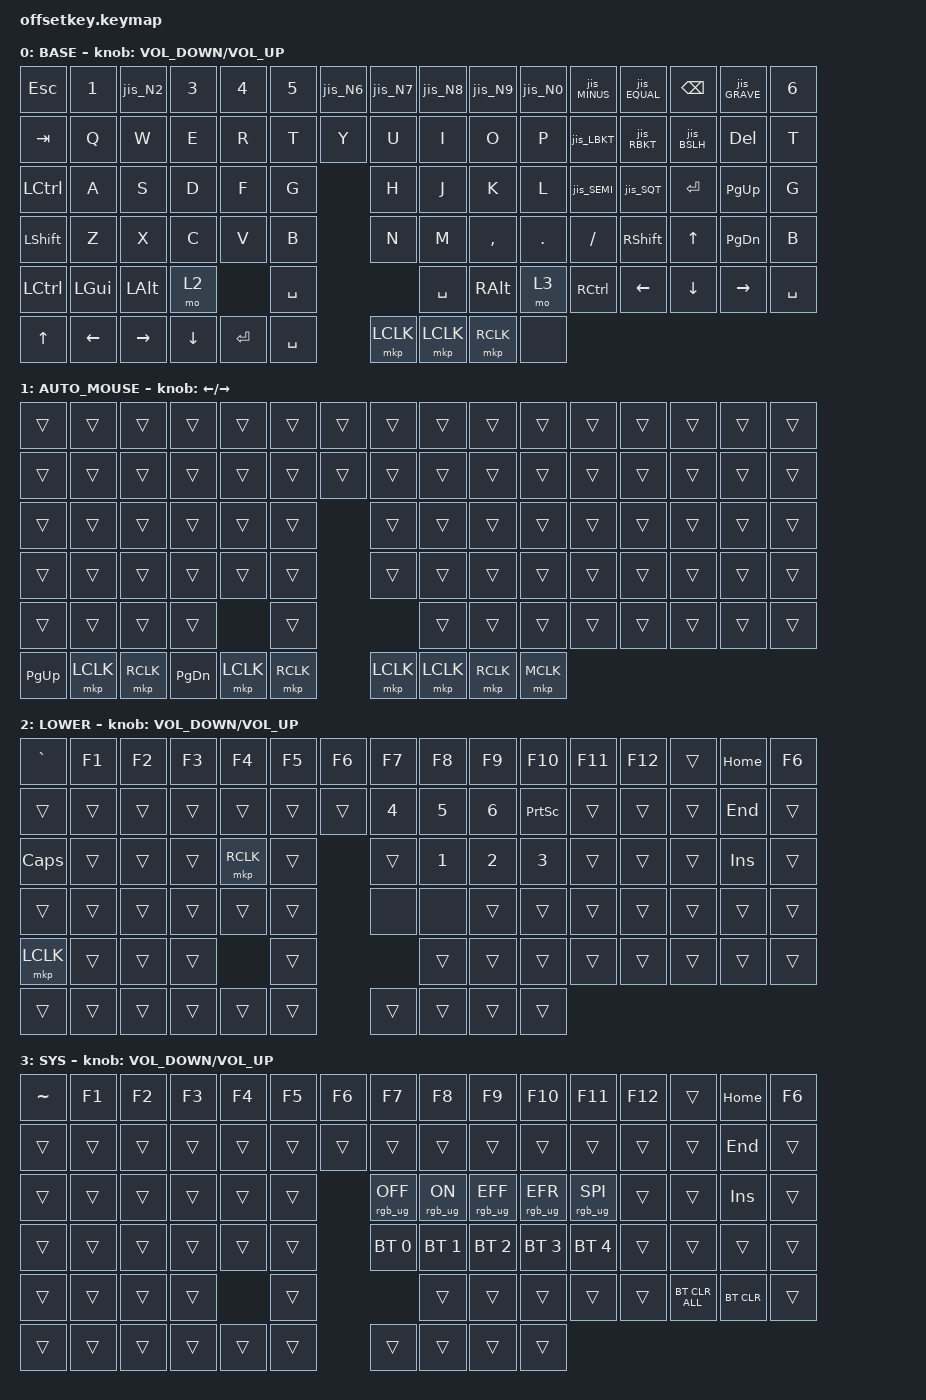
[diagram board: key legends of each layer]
#define BASE 0
#define AUTO_MOUSE 1
#define LOWER 2
#define SYS 3

#include <zephyr/dt-bindings/input/input-event-codes.h>
#include <behaviors/toggle_io.dtsi>
#include <behaviors/on_io.dtsi>
#include <behaviors/off_io.dtsi>
#include <dt-bindings/zmk/mouse.h>
#include <behaviors.dtsi>
#include <dt-bindings/zmk/bt.h>
#include <dt-bindings/zmk/keys.h>
#include <dt-bindings/zmk/pointing.h>
#include <dt-bindings/zmk/rgb.h>

/ {
    behaviors {
        ltq: ltq {
            compatible = "zmk,behavior-hold-tap";
            label = "LTQ";
            bindings = <&mo>, <&kp>;

            #binding-cells = <2>;
            tapping-term-ms = <200>;
            quick-tap-ms = <180>;
        };
    };

    combos {
        compatible = "zmk,combos";

        flash {
            bindings = <&bootloader>;
            key-positions = <0 11>;
        };
    };

    //--------USキーボードの記号を日本語OSで表示通りに入力するための処理-----------------------------
    //`~マーク

    jis_GRAVE: jis_GRAVE {
        compatible = "zmk,behavior-mod-morph";
        label = "jis_GRAVE";
        #binding-cells = <0>;
        bindings = <&kp LS(LBKT)>, <&kp EQUAL>;

        //通常時でもレフトシフトするようにしてある。

        mods = <(MOD_LSFT|MOD_RSFT)>;
        keep-mods = <(MOD_LSFT|MOD_RSFT)>;  //shiftを押しっぱなしにするための記述
    };

    //@マーク

    jis_N2: jis_N2 {
        compatible = "zmk,behavior-mod-morph";
        label = "jis_N2";
        #binding-cells = <0>;
        bindings = <&kp N2>, <&kp LBKT>;

        mods = <(MOD_LSFT|MOD_RSFT)>;

        //keep-mods = <(MOD_LSFT|MOD_RSFT)>;
    };

    //^マーク

    jis_N6: jis_N6 {
        compatible = "zmk,behavior-mod-morph";
        label = "jis_N6";
        #binding-cells = <0>;
        bindings = <&kp N6>, <&kp EQUAL>;

        mods = <(MOD_LSFT|MOD_RSFT)>;

        //keep-mods = <(MOD_LSFT|MOD_RSFT)>;
        //&マーク
    };

    jis_N7: jis_N7 {
        compatible = "zmk,behavior-mod-morph";
        label = "jis_N7";
        #binding-cells = <0>;
        bindings = <&kp N7>, <&kp N6>;

        mods = <(MOD_LSFT|MOD_RSFT)>;
        keep-mods = <(MOD_LSFT|MOD_RSFT)>;
    };

    //アスタリスクマーク

    jis_N8: jis_N8 {
        compatible = "zmk,behavior-mod-morph";
        label = "jis_N8";
        #binding-cells = <0>;
        bindings = <&kp N8>, <&kp SQT>;

        mods = <(MOD_LSFT|MOD_RSFT)>;
        keep-mods = <(MOD_LSFT|MOD_RSFT)>;
    };

    // (マーク

    jis_N9: jis_N9 {
        compatible = "zmk,behavior-mod-morph";
        label = "jis_N9";
        #binding-cells = <0>;
        bindings = <&kp N9>, <&kp N8>;

        mods = <(MOD_LSFT|MOD_RSFT)>;
        keep-mods = <(MOD_LSFT|MOD_RSFT)>;
    };

    // )マーク

    jis_N0: jis_N0 {
        compatible = "zmk,behavior-mod-morph";
        label = "jis_N0";
        #binding-cells = <0>;
        bindings = <&kp N0>, <&kp N9>;

        mods = <(MOD_LSFT|MOD_RSFT)>;
        keep-mods = <(MOD_LSFT|MOD_RSFT)>;
    };

    //アンダーバー

    jis_MINUS: jis_MINUS {
        compatible = "zmk,behavior-mod-morph";
        label = "jis_MINUS";
        #binding-cells = <0>;
        bindings = <&kp MINUS>, <&kp INT1>;

        mods = <(MOD_LSFT|MOD_RSFT)>;
        keep-mods = <(MOD_LSFT|MOD_RSFT)>;
    };

    //イコールとプラス

    jis_EQUAL: jis_EQUAL {
        compatible = "zmk,behavior-mod-morph";
        label = "jis_EQUAL";
        #binding-cells = <0>;
        bindings = <&kp LS(MINUS)>, <&kp SEMI>;

        mods = <(MOD_LSFT|MOD_RSFT)>;
        keep-mods = <(MOD_LSFT|MOD_RSFT)>;
    };

    // [マーク

    jis_LBKT: jis_LBKT {
        compatible = "zmk,behavior-mod-morph";
        label = "jis_LBKT";
        #binding-cells = <0>;
        bindings = <&kp RBKT>, <&kp RBKT>;

        mods = <(MOD_LSFT|MOD_RSFT)>;
        keep-mods = <(MOD_LSFT|MOD_RSFT)>;
    };

    // ]マーク

    jis_RBKT: jis_RBKT {
        compatible = "zmk,behavior-mod-morph";
        label = "jis_RBKT";
        #binding-cells = <0>;
        bindings = <&kp BSLH>, <&kp BSLH>;

        mods = <(MOD_LSFT|MOD_RSFT)>;
        keep-mods = <(MOD_LSFT|MOD_RSFT)>;
    };

    // yenマーク

    jis_BSLH: jis_BSLH {
        compatible = "zmk,behavior-mod-morph";
        label = "jis_BSLH";
        #binding-cells = <0>;
        bindings = <&kp INT3>, <&kp INT3>;

        //INT3ではないかも

        mods = <(MOD_LSFT|MOD_RSFT)>;
        keep-mods = <(MOD_LSFT|MOD_RSFT)>;
    };

    //コロンセミコロン

    jis_SEMI: jis_SEMI {
        compatible = "zmk,behavior-mod-morph";
        label = "jis_SEMI";
        #binding-cells = <0>;
        bindings = <&kp SEMI>, <&kp SQT>;

        mods = <(MOD_LSFT|MOD_RSFT)>;

        //keep-mods = <(MOD_LSFT|MOD_RSFT)>;
    };

    //クオーテーション

    jis_SQT: jis_SQT {
        compatible = "zmk,behavior-mod-morph";
        label = "jis_SQT";
        #binding-cells = <0>;
        bindings = <&kp LS(N7)>, <&kp N2>;

        mods = <(MOD_LSFT|MOD_RSFT)>;
        keep-mods = <(MOD_LSFT|MOD_RSFT)>;
    };

    keymap {
        compatible = "zmk,keymap";

        BASE {
            bindings = <
&kp ESC       &kp N1          &jis_N2          &kp N3          &kp N4     &kp N5     &jis_N6      &jis_N7    &jis_N8    &jis_N9        &jis_N0  &jis_MINUS  &jis_EQUAL  &kp BSPC      &jis_GRAVE              &kp NUMBER_6
&kp TAB       &kp Q           &kp W            &kp E           &kp R      &kp T                   &kp Y      &kp U      &kp I          &kp O    &kp P       &jis_LBKT   &jis_RBKT     &jis_BSLH   &kp DELETE  &kp T
&kp LCTRL     &kp A           &kp S            &kp D           &kp F      &kp G                   &kp H      &kp J      &kp K          &kp L    &jis_SEMI   &jis_SQT    &kp ENTER     &kp PG_UP               &kp G
&kp LSHFT     &kp Z           &kp X            &kp C           &kp V      &kp B                   &kp N      &kp M      &kp COMMA      &kp DOT  &kp FSLH    &kp RSHFT   &kp UP_ARROW  &kp PG_DN               &kp B
&kp LCTRL     &kp LEFT_GUI    &kp LEFT_ALT     &mo 2                      &kp SPACE                          &kp SPACE  &kp RIGHT_ALT  &mo 3    &kp RCTRL   &kp LEFT    &kp DOWN      &kp RIGHT               &kp SPACE
&kp UP_ARROW  &kp LEFT_ARROW  &kp RIGHT_ARROW  &kp DOWN_ARROW  &kp ENTER  &kp SPACE               &mkp LCLK  &mkp LCLK  &mkp RCLK      &none
            >;

            label = "BASE";
            sensor-bindings = <&inc_dec_kp C_VOLUME_DOWN C_VOLUME_UP>;
        };

        layer_1 {
            bindings = <
&trans     &trans     &trans     &trans     &trans     &trans     &trans      &trans     &trans     &trans     &trans     &trans  &trans  &trans  &trans          &trans
&trans     &trans     &trans     &trans     &trans     &trans                 &trans     &trans     &trans     &trans     &trans  &trans  &trans  &trans  &trans  &trans
&trans     &trans     &trans     &trans     &trans     &trans                 &trans     &trans     &trans     &trans     &trans  &trans  &trans  &trans          &trans
&trans     &trans     &trans     &trans     &trans     &trans                 &trans     &trans     &trans     &trans     &trans  &trans  &trans  &trans          &trans
&trans     &trans     &trans     &trans                &trans                            &trans     &trans     &trans     &trans  &trans  &trans  &trans          &trans
&kp PG_UP  &mkp LCLK  &mkp RCLK  &kp PG_DN  &mkp LCLK  &mkp RCLK              &mkp LCLK  &mkp LCLK  &mkp RCLK  &mkp MCLK
            >;

            label = "AUTO_MOUSE";
            sensor-bindings = <&inc_dec_kp LEFT RIGHT>;
        };

        layer_2 {
            bindings = <
&kp GRAVE     &kp F1  &kp F2  &kp F3  &kp F4     &kp F5  &kp F6      &kp F7  &kp F8        &kp F9        &kp F10       &kp F11          &kp F12  &trans  &kp HOME             &kp F6
&trans        &trans  &trans  &trans  &trans     &trans              &trans  &kp NUMBER_4  &kp NUMBER_5  &kp NUMBER_6  &kp PRINTSCREEN  &trans   &trans  &trans      &kp END  &trans
&kp CAPSLOCK  &trans  &trans  &trans  &mkp RCLK  &trans              &trans  &kp NUMBER_1  &kp NUMBER_2  &kp NUMBER_3  &trans           &trans   &trans  &kp INSERT           &trans
&trans        &trans  &trans  &trans  &trans     &trans              &none   &none         &trans        &trans        &trans           &trans   &trans  &trans               &trans
&mkp LCLK     &trans  &trans  &trans             &trans                      &trans        &trans        &trans        &trans           &trans   &trans  &trans               &trans
&trans        &trans  &trans  &trans  &trans     &trans              &trans  &trans        &trans        &trans
            >;

            label = "LOWER";
            sensor-bindings = <&inc_dec_kp C_VOLUME_DOWN C_VOLUME_UP>;
        };

        layer_3 {
            bindings = <
&kp TILDE  &kp F1  &kp F2  &kp F3  &kp F4  &kp F5  &kp F6      &kp F7           &kp F8          &kp F9           &kp F10          &kp F11          &kp F12  &trans          &kp HOME             &kp F6
&trans     &trans  &trans  &trans  &trans  &trans              &trans           &trans          &trans           &trans           &trans           &trans   &trans          &trans      &kp END  &trans
&trans     &trans  &trans  &trans  &trans  &trans              &rgb_ug RGB_OFF  &rgb_ug RGB_ON  &rgb_ug RGB_EFF  &rgb_ug RGB_EFR  &rgb_ug RGB_SPI  &trans   &trans          &kp INSERT           &trans
&trans     &trans  &trans  &trans  &trans  &trans              &bt BT_SEL 0     &bt BT_SEL 1    &bt BT_SEL 2     &bt BT_SEL 3     &bt BT_SEL 4     &trans   &trans          &trans               &trans
&trans     &trans  &trans  &trans          &trans                               &trans          &trans           &trans           &trans           &trans   &bt BT_CLR_ALL  &bt BT_CLR           &trans
&trans     &trans  &trans  &trans  &trans  &trans              &trans           &trans          &trans           &trans
            >;

            label = "SYS";
            sensor-bindings = <&inc_dec_kp C_VOLUME_DOWN C_VOLUME_UP>;
        };
    };
};
